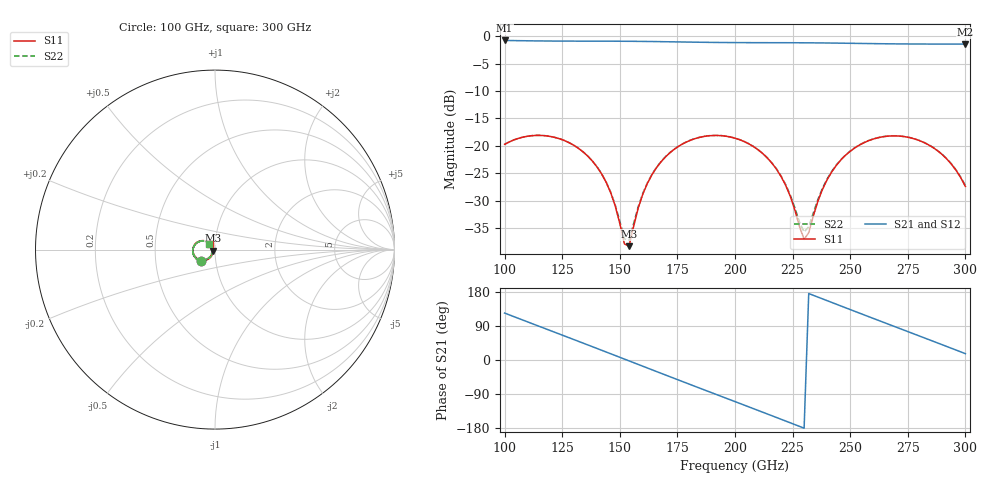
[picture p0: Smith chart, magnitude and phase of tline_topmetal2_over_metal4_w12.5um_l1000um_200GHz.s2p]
#  GHZ S DB R 50
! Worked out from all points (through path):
!   101 points, 100 GHz to 300 GHz, reference 50 ohm
!   highest |S21| = -0.78 dB at 100 GHz (marker M1); lowest = -1.4 dB at 300 GHz (marker M2)
!   group delay of S21, straight-line fit = 6.49 ps
!   lowest |S11| = -38.3 dB at 154 GHz (marker M3), VSWR 1.02, Z = 48.9 - j0.491 ohm
!   |S11| at or under -10 dB: start of sweep to end of sweep
!   |S22| runs from -37.3 to -18.1 dB; largest |S21 - S12| = 1.6e-13
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100  -19.75 -141.0  -0.78 123.9  -0.78 123.9  -19.74 -140.8
116  -18.12 -176.1  -0.87 86.6  -0.87 86.6  -18.12 -175.5
124  -18.75 166.6  -0.90 68.0  -0.90 68.0  -18.74 167.4
134  -21.10 146.0  -0.91 44.7  -0.91 44.7  -21.09 147.2
144  -26.61 130.0  -0.91 21.3  -0.91 21.3  -26.54 132.3
148  -30.97 130.5  -0.92 11.9  -0.92 11.9  -30.78 133.9
152  -37.93 160.7  -0.93 2.4  -0.93 2.4  -36.99 164.5
154  -38.34 -155.5  -0.93 -2.3  -0.93 -2.3  -37.27 -157.2
160  -28.82 -118.5  -0.96 -16.4  -0.96 -16.4  -28.67 -120.3
168  -22.88 -127.4  -1.00 -35.3  -1.00 -35.3  -22.84 -128.0
184  -18.54 -159.2  -1.10 -72.7  -1.10 -72.7  -18.52 -158.9
200  -18.62 167.4  -1.17 -109.8  -1.17 -109.8  -18.61 168.2
218  -24.28 134.3  -1.19 -151.7  -1.19 -151.7  -24.21 136.6
224  -29.24 131.6  -1.20 -165.8  -1.20 -165.8  -29.01 135.3
230  -37.09 177.0  -1.21 -179.9  -1.21 -179.9  -35.75 178.7
234  -32.83 -131.7  -1.22 170.7  -1.22 170.7  -32.24 -135.6
240  -26.19 -124.0  -1.25 156.6  -1.25 156.6  -26.05 -126.1
246  -22.58 -131.6  -1.28 142.5  -1.28 142.5  -22.52 -132.7
258  -19.08 -153.9  -1.35 114.4  -1.35 114.4  -19.05 -154.2
268  -18.21 -174.1  -1.40 91.2  -1.40 91.2  -18.19 -173.9
286  -20.34 150.7  -1.44 49.5  -1.44 49.5  -20.32 151.7
300  -27.44 134.2  -1.45 16.7  -1.45 16.7  -27.27 137.1
